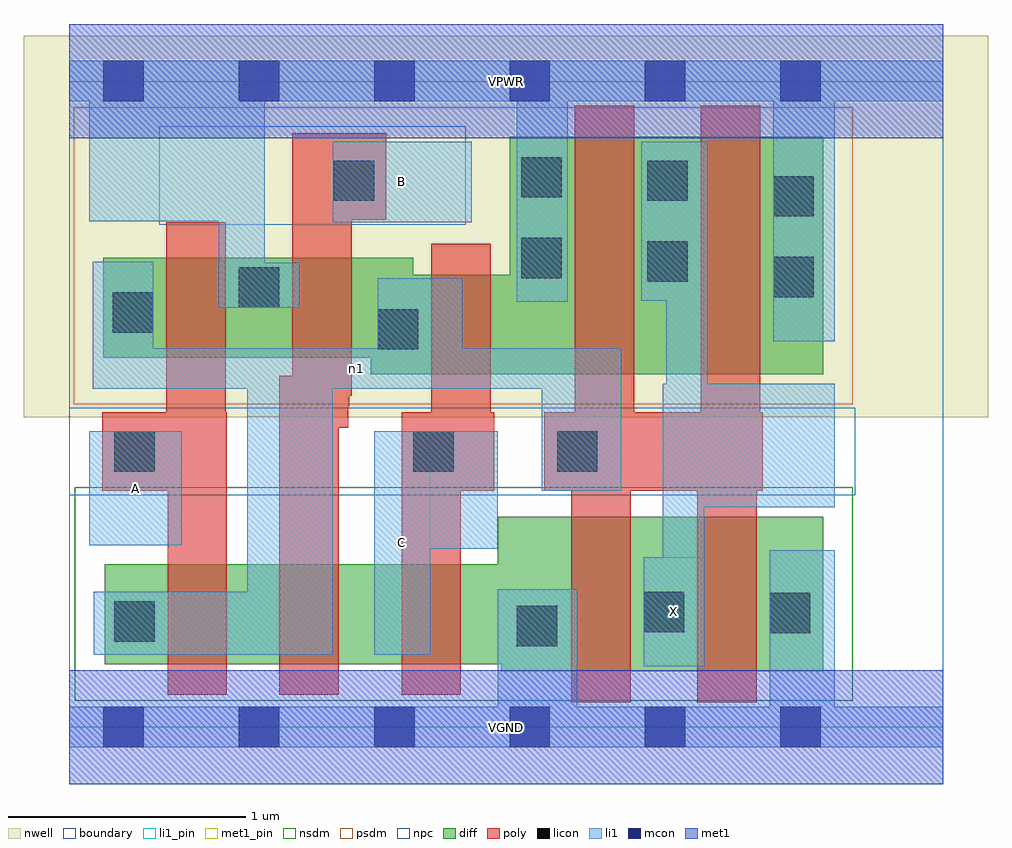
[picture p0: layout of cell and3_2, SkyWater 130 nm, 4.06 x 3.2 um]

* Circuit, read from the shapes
.subckt and3_2 A B C VGND VPWR X n1
XM1 n2 A n1 VSUBS sky130_fd_pr__nfet_01v8 w=0.42 l=0.25
XM2 n3 B n2 VSUBS sky130_fd_pr__nfet_01v8 w=0.42 l=0.25
XM3 VGND C n3 VSUBS sky130_fd_pr__nfet_01v8 w=0.42 l=0.25
XM4 X n1 VGND VSUBS sky130_fd_pr__nfet_01v8 w=0.65 l=0.25 m=2
XM5 VPWR A n1 n4 sky130_fd_pr__pfet_01v8 w=0.42 l=0.25
XM6 n1 B VPWR n4 sky130_fd_pr__pfet_01v8 w=0.42 l=0.25
XM7 VPWR C n1 n4 sky130_fd_pr__pfet_01v8 w=0.42 l=0.25
XM8 X n1 VPWR n4 sky130_fd_pr__pfet_01v8 w=1 l=0.25 m=2
.ends

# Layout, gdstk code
import gdstk
lib = gdstk.Library(unit=1e-6, precision=1e-09)
def R(c, l, rs):  # rectangles x0, y0, x1, y1
    for r in rs: c.add(gdstk.rectangle(r[:2], r[2:], *l))
def A(c, l, x, y, w, h, nx, ny, dx, dy):  # array of equal rectangles
    R(c, l, [(x+i*dx, y+j*dy, x+i*dx+w, y+j*dy+h) for i in range(nx) for j in range(ny)])
nwell = (64, 20)
diff = (65, 20)
poly = (66, 20)
licon = (66, 44)
li1_pin = (67, 16)
li1 = (67, 20)
mcon = (67, 44)
met1_pin = (68, 16)
met1 = (68, 20)
nsdm = (93, 44)
psdm = (94, 20)
npc = (95, 20)
boundary = (235, 4)

and3_2 = lib.new_cell('and3_2')
R(and3_2, nwell, [(-0.19,1.305,3.87,2.91), (0,1.305,3.68,2.91)])
R(and3_2, diff, [(1.82,0.235,3.175,0.885), (0.15,0.265,3.175,0.685), (1.805,0.265,3.175,0.885), (1.27,1.485,3.175,1.905), (1.855,1.485,3.175,2.485), (0.145,1.555,1.45,1.975)])
R(and3_2, poly, [(2.115,0.105,2.365,1.325), (2.645,0.105,2.895,1.325), (0.415,0.135,0.665,1.325), (0.885,0.135,1.135,1.48), (1.4,0.135,1.65,1.325), (0.14,0.995,0.665,1.325), (0.41,0.995,0.66,2.125), (1.4,0.995,1.79,1.325), (1.65,0.995,1.775,2.035), (2,0.995,2.92,1.325), (2.13,0.995,2.38,2.615), (2.66,0.995,2.91,2.615), (0.885,1.26,1.175,1.48), (1.525,1.325,1.775,2.035), (0.94,1.35,1.18,2.5), (0.94,1.395,1.19,2.5), (0.94,2.135,1.335,2.5)])
R(and3_2, licon, [(1.885,0.34,2.055,0.51), (0.19,0.36,0.36,0.53), (2.95,0.395,3.12,0.565), (2.42,0.4,2.59,0.57), (0.19,1.075,0.36,1.245), (1.45,1.075,1.62,1.245), (2.055,1.075,2.225,1.245), (1.3,1.59,1.47,1.76), (0.185,1.66,0.355,1.83), (0.715,1.765,0.885,1.935), (2.965,1.81,3.135,1.98), (2.435,1.875,2.605,2.045), (1.905,1.89,2.075,2.06), (2.965,2.15,3.135,2.32), (1.115,2.215,1.285,2.385), (2.435,2.215,2.605,2.385), (1.905,2.23,2.075,2.4)])
R(and3_2, li1_pin, [(2.42,0.255,2.675,0.715), (1.285,0.305,1.52,1.245), (0.085,0.765,0.475,1.245), (1.11,2.125,1.695,2.465)])
R(and3_2, li1, [(0,-0.085,3.68,0.085), (1.805,-0.085,2.14,0.58), (2.95,-0.085,3.225,0.745), (2.42,0.255,2.675,0.715), (2.5,0.255,2.675,1.445), (0.105,0.305,1.11,0.57), (0.75,0.305,1.11,1.595), (1.285,0.305,1.52,1.245), (1.285,0.75,1.805,1.245), (0.085,0.765,0.475,1.245), (2.5,0.925,3.225,1.445), (2.515,0.925,2.69,2.465), (1.99,0.995,2.325,1.595), (0.1,1.425,2.325,1.595), (0.1,1.425,0.355,1.96), (1.3,1.425,1.655,1.89), (2.965,1.625,3.225,2.805), (0.63,1.765,0.825,2.805), (0.63,1.765,0.97,1.955), (1.885,1.79,2.1,2.805), (2.41,1.795,2.69,2.465), (1.11,2.125,1.695,2.465), (0.085,2.13,0.825,2.635), (0,2.635,3.68,2.805)])
A(and3_2, mcon, 0.145, -0.085, 0.17, 0.17, 6, 2, 0.57, 2.72)
R(and3_2, met1_pin, [(0,-0.24,3.68,0.24), (0,2.48,3.68,2.96)])
R(and3_2, met1, [(0,-0.24,3.68,0.24), (0,2.48,3.68,2.96)])
R(and3_2, nsdm, [(0.025,0.11,3.3,1.01)])
R(and3_2, psdm, [(0.02,1.36,3.3,2.61)])
R(and3_2, npc, [(0,0.975,3.31,1.345), (0.38,2.115,1.67,2.53)])
R(and3_2, boundary, [(0,0,3.68,2.72)])
and3_2.add(gdstk.Label('A', (0.28,1.005), layer=67, texttype=5))
and3_2.add(gdstk.Label('B', (1.402,2.295), layer=67, texttype=5))
and3_2.add(gdstk.Label('C', (1.402,0.775), layer=67, texttype=5))
and3_2.add(gdstk.Label('X', (2.547,0.485), layer=67, texttype=5))
and3_2.add(gdstk.Label('n1', (1.212,1.51), layer=67, texttype=5))
and3_2.add(gdstk.Label('VPWR', (1.84,2.72), layer=68, texttype=5))
and3_2.add(gdstk.Label('VGND', (1.84,0), layer=68, texttype=5))
and3_2.add(gdstk.Label('A', (0.28,1.005), layer=67, texttype=16))
and3_2.add(gdstk.Label('B', (1.402,2.295), layer=67, texttype=16))
and3_2.add(gdstk.Label('C', (1.402,0.775), layer=67, texttype=16))
and3_2.add(gdstk.Label('X', (2.547,0.485), layer=67, texttype=16))
and3_2.add(gdstk.Label('VPWR', (1.84,2.72), layer=68, texttype=16))
and3_2.add(gdstk.Label('VGND', (1.84,0), layer=68, texttype=16))

lib.write_gds('and3_2.gds')
